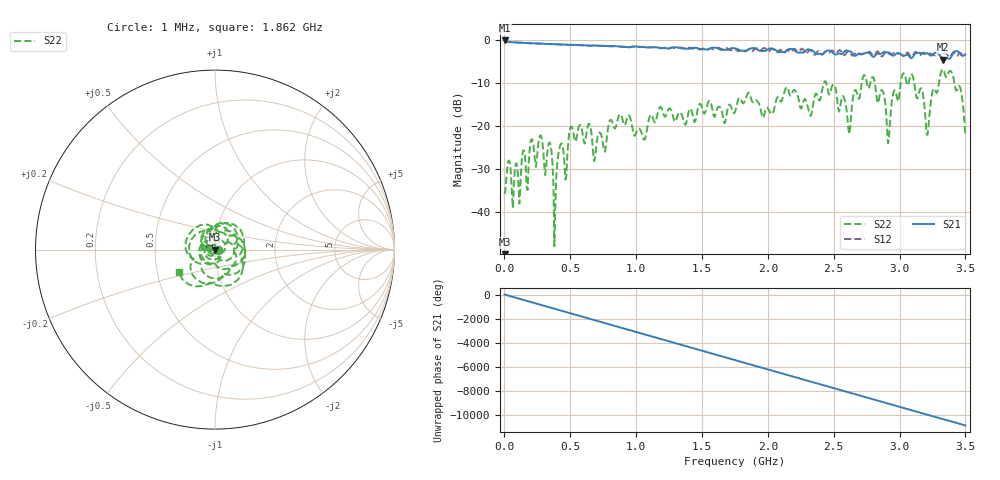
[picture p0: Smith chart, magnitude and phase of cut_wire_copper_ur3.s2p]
# GHZ S RI R 50.000000000000
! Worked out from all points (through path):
!   501 points, 1 MHz to 3.5 GHz, reference 50 ohm
!   highest |S21| = -0.02 dB at 1 MHz (marker M1); lowest = -4.5 dB at 3.332 GHz (marker M2)
!   group delay of S21, straight-line fit = 8.66 ns
!   lowest |S11| = - dB at 1 MHz (marker M3), VSWR 1.00, Z = 50 + j0 ohm
!   |S11| at or under -10 dB: start of sweep to end of sweep
!   |S22| runs from -47.9 to -6.7 dB; largest |S21 - S12| = 0.11
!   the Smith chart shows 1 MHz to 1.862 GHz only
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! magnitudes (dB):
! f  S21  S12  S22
! 1 MHz  0.0  0.0  -35.8
! 273.9 MHz  -0.8  -0.8  -22.1
! 350.9 MHz  -0.9  -0.9  -24.4
! 385.9 MHz  -0.9  -0.9  -38.7
! 420.9 MHz  -0.9  -1.0  -24.6
! 462.9 MHz  -1.0  -1.0  -32.4
! 504.9 MHz  -1.1  -1.1  -20.0
! 588.8 MHz  -1.1  -1.2  -20.9
! 686.8 MHz  -1.2  -1.2  -27.5
! 1.17 GHz  -1.7  -1.7  -16.2
! 1.75 GHz  -1.8  -1.9  -16.7
! 2.338 GHz  -2.3  -2.8  -16.0
! 2.499 GHz  -3.1  -2.6  -10.2
! 2.618 GHz  -2.6  -2.7  -21.8
! 2.793 GHz  -3.7  -3.4  -8.5
! 2.919 GHz  -2.8  -3.1  -23.2
! 3.024 GHz  -3.5  -3.6  -7.8
! 3.164 GHz  -2.9  -3.2  -11.1
! 3.213 GHz  -3.0  -3.2  -22.0
! 3.332 GHz  -4.5  -3.7  -6.8
! 3.458 GHz  -3.0  -2.9  -10.7
! 3.5 GHz  -3.2  -3.5  -21.9
